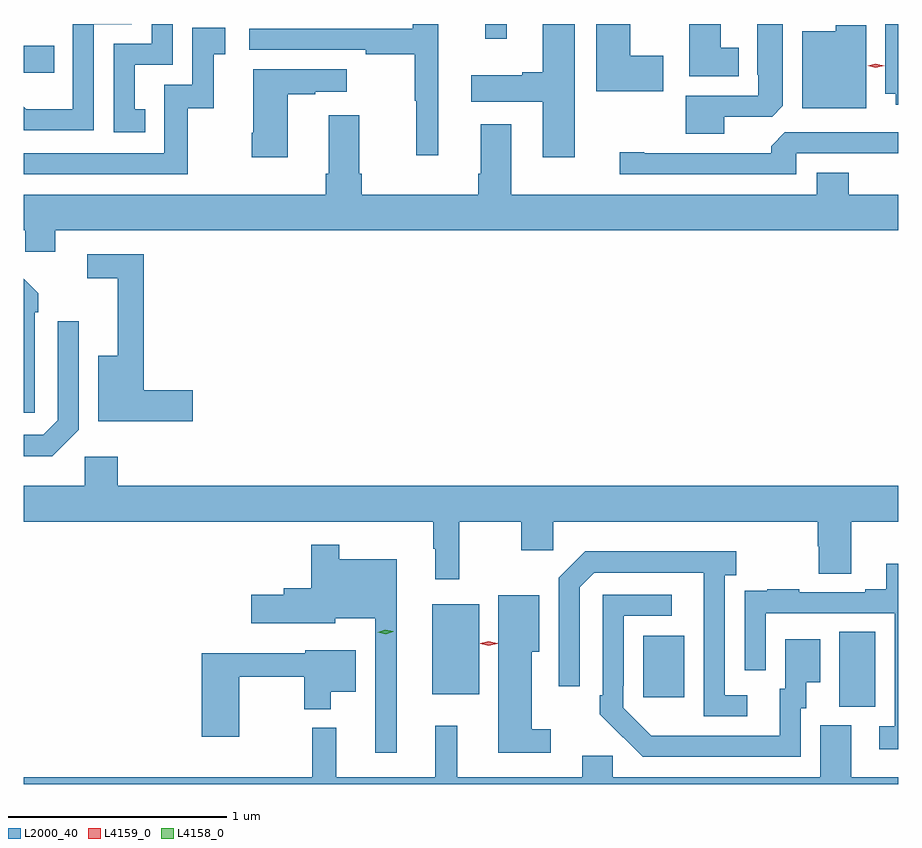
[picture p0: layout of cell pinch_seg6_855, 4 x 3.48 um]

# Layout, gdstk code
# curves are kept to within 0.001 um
import gdstk
lib = gdstk.Library(unit=1e-6, precision=1e-09)
def R(c, l, rs):  # rectangles x0, y0, x1, y1
    for r in rs: c.add(gdstk.rectangle(r[:2], r[2:], *l))
def P(c, l, *ps):  # polygons
    for p in ps: c.add(gdstk.Polygon(p, *l))
L2000_40 = (2000, 40)
L4158_0 = (4158, 0)
L4159_0 = (4159, 0)

pinch_seg6_855 = lib.new_cell('pinch_seg6_855')
R(pinch_seg6_855, L2000_40, [(128.51,915.853,128.674,916.196), (127.613,915.897,127.801,916.177), (126.647,915.911,126.862,916.321), (124.779,918.753,124.919,918.876), (126.891,918.909,126.988,918.976)])
P(pinch_seg6_855, L2000_40, [(125.1,918.975),(125.274,918.975),(125.274,918.976),(124.779,918.976),(124.779,918.975),(125.004,918.975),(125.004,918.586),(124.79,918.586),(124.779,918.597),(124.779,918.489),(125.1,918.489)],
  [(126.676,918.976),(126.559,918.976),(126.559,918.954),(125.811,918.954),(125.811,918.858),(126.343,918.858),(126.343,918.838),(126.567,918.838),(126.567,918.624),(126.574,918.624),(126.574,918.375),(126.676,918.375)],
  [(127.984,918.552),(128.202,918.552),(128.251,918.601),(128.251,918.976),(128.135,918.976),(128.135,918.745),(128.139,918.745),(128.139,918.648),(127.808,918.648),(127.808,918.473),(127.984,918.473)],
  [(127.705,918.831),(127.552,918.831),(127.552,918.976),(127.397,918.976),(127.397,918.668),(127.705,918.668)],
  [(128.779,918.976),(128.72,918.976),(128.72,918.656),(128.768,918.656),(128.768,918.606),(128.779,918.606)],
  [(128.05,918.868),(127.966,918.868),(127.966,918.976),(127.823,918.976),(127.823,918.737),(128.05,918.737)],
  [(127.3,918.976),(127.154,918.976),(127.154,918.755),(127.058,918.755),(127.058,918.742),(126.825,918.742),(126.825,918.62),(127.154,918.62),(127.154,918.366),(127.3,918.366)],
  [(125.336,918.585),(125.287,918.585),(125.287,918.789),(125.46,918.789),(125.46,918.976),(125.364,918.976),(125.364,918.885),(125.19,918.885),(125.19,918.48),(125.336,918.48)],
  [(128.632,918.97),(128.493,918.97),(128.493,918.943),(128.339,918.943),(128.339,918.59),(128.632,918.59)],
  [(125.53,918.591),(125.648,918.591),(125.648,918.837),(125.701,918.837),(125.701,918.958),(125.55,918.958),(125.55,918.699),(125.421,918.699),(125.421,918.384),(124.779,918.384),(124.779,918.288),(125.53,918.288)],
  [(125.986,918.655),(126.113,918.655),(126.113,918.665),(126.256,918.665),(126.256,918.769),(125.828,918.769),(125.828,918.478),(125.821,918.478),(125.821,918.366),(125.986,918.366)],
  [(124.924,918.032),(128.779,918.032),(128.779,918.196),(128.553,918.196),(128.553,918.295),(128.405,918.295),(128.405,918.196),(127.009,918.196),(127.009,918.517),(126.869,918.517),(126.869,918.292),(126.857,918.292),(126.857,918.196),(126.326,918.196),(126.326,918.292),(126.313,918.292),(126.313,918.559),(126.173,918.559),(126.173,918.292),(126.161,918.292),(126.161,918.196),(124.779,918.196),(124.779,918.032),(124.785,918.032),(124.785,917.934),(124.924,917.934)],
  [(128.313,918.384),(128.779,918.384),(128.779,918.48),(128.259,918.48),(128.198,918.418),(128.198,918.384),(127.618,918.384),(127.618,918.389),(127.506,918.389),(127.506,918.288),(128.313,918.288)],
  [(125.551,917.3),(125.327,917.3),(125.327,917.922),(125.07,917.922),(125.07,917.814),(125.21,917.814),(125.21,917.458),(125.12,917.458),(125.12,917.158),(125.551,917.158)],
  [(124.83,917.657),(124.845,917.657),(124.845,917.745),(124.779,917.811),(124.779,917.199),(124.83,917.199)],
  [(125.031,917.121),(125.031,917.617),(124.935,917.617),(124.935,917.163),(124.869,917.097),(124.779,917.097),(124.779,917),(124.91,917)],
  [(126.772,916.7),(127.054,916.7),(127.054,916.569),(127.2,916.569),(127.2,916.7),(128.411,916.7),(128.411,916.587),(128.416,916.587),(128.416,916.462),(128.563,916.462),(128.563,916.7),(128.779,916.7),(128.779,916.864),(125.21,916.864),(125.21,916.996),(125.058,916.996),(125.058,916.864),(124.779,916.864),(124.779,916.7),(126.651,916.7),(126.651,916.577),(126.662,916.577),(126.662,916.437),(126.772,916.437)],
  [(126.484,916.528),(126.223,916.528),(126.223,916.594),(126.094,916.594),(126.094,916.395),(125.969,916.395),(125.969,916.365),(125.82,916.365),(125.82,916.235),(126.204,916.235),(126.204,916.259),(126.387,916.259),(126.387,915.642),(126.484,915.642)],
  [(128.089,915.906),(127.986,915.906),(127.986,916.454),(128.038,916.454),(128.038,916.564),(127.348,916.564),(127.227,916.443),(127.227,915.948),(127.323,915.948),(127.323,916.401),(127.389,916.467),(127.89,916.467),(127.89,915.81),(128.089,915.81)],
  [(128.779,916.507),(128.723,916.507),(128.723,916.39),(128.627,916.39),(128.627,916.377),(128.327,916.377),(128.327,916.39),(128.179,916.39),(128.179,916.383),(128.077,916.383),(128.077,916.274),(128.076,916.274),(128.076,916.02),(128.172,916.02),(128.172,916.281),(128.763,916.281),(128.763,915.765),(128.691,915.765),(128.691,915.66),(128.779,915.66)],
  [(128.334,915.846),(128.359,915.846),(128.359,915.965),(128.422,915.965),(128.422,916.162),(128.261,916.162),(128.261,915.936),(128.237,915.936),(128.237,915.72),(127.65,915.721),(127.521,915.849),(127.521,915.949),(127.524,915.949),(127.524,916.269),(127.744,916.269),(127.744,916.365),(127.428,916.365),(127.428,915.907),(127.413,915.907),(127.413,915.819),(127.61,915.624),(128.334,915.624)],
  [(127.189,915.751),(127.102,915.751),(127.102,916.106),(127.138,916.106),(127.138,916.363),(126.95,916.363),(126.95,915.642),(127.189,915.642)],
  [(125.764,915.99),(126.062,915.99),(126.062,915.842),(126.184,915.842),(126.184,915.923),(126.298,915.923),(126.298,916.111),(126.066,916.111),(126.066,916.099),(125.594,916.099),(125.594,915.717),(125.764,915.717)],
  [(128.779,915.532),(128.563,915.532),(128.563,915.768),(128.423,915.768),(128.423,915.532),(127.473,915.532),(127.473,915.63),(127.334,915.63),(127.334,915.532),(126.761,915.532),(126.761,915.766),(126.662,915.766),(126.662,915.532),(126.209,915.532),(126.209,915.757),(126.099,915.757),(126.099,915.532),(124.779,915.532),(124.779,915.5),(128.779,915.5)])
P(pinch_seg6_855, L4158_0, [(126.434,916.185),(126.398,916.193),(126.397,916.193),(126.398,916.193),(126.432,916.205),(126.468,916.198),(126.469,916.197),(126.468,916.197)])
P(pinch_seg6_855, L4159_0, [(128.677,918.775),(128.639,918.784),(128.639,918.785),(128.639,918.785),(128.677,918.795),(128.714,918.785),(128.714,918.785),(128.714,918.785)],
  [(126.907,916.133),(126.868,916.142),(126.868,916.142),(126.868,916.143),(126.906,916.153),(126.945,916.143),(126.946,916.143),(126.945,916.142)])

lib.write_gds('pinch_seg6_855.gds')
